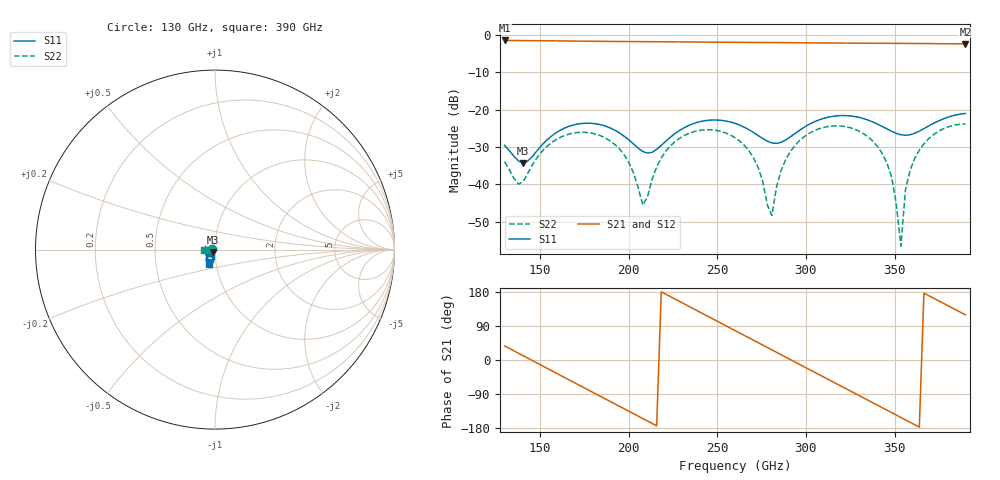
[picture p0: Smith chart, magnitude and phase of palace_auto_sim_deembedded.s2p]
! Created with skrf 1.11.0 (http://scikit-rf.org).
# GHz S DB R 50.0
!freq dBS11 angS11 dBS21 angS21 dBS12 angS12 dBS22 angS22
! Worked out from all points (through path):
!   101 points, 130 GHz to 390 GHz, reference 50 ohm
!   highest |S21| = -1.52 dB at 130 GHz (marker M1); lowest = -2.4 dB at 390 GHz (marker M2)
!   group delay of S21, straight-line fit = 6.81 ps
!   lowest |S11| = -34.3 dB at 140.4 GHz (marker M3), VSWR 1.04, Z = 48.8 - j1.44 ohm
!   |S11| at or under -10 dB: start of sweep to end of sweep
!   |S22| runs from -56.6 to -23.9 dB; largest |S21 - S12| = 1.4e-13
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130  -29.60 -161.4  -1.52 37.1  -1.52 37.1  -33.99 164.7
140.4  -34.31 -130.0  -1.55 11.5  -1.55 11.5  -39.30 -138.2
156  -27.26 -97.7  -1.62 -26.9  -1.62 -26.9  -29.02 -125.8
174.2  -23.69 -122.8  -1.70 -71.7  -1.70 -71.7  -26.09 -164.2
195  -26.31 -150.7  -1.79 -122.7  -1.79 -122.7  -30.65 150.3
202.8  -29.25 -149.4  -1.82 -141.8  -1.82 -141.8  -37.03 142.2
208  -31.23 -136.9  -1.83 -154.6  -1.83 -154.6  -45.59 -177.7
218.4  -29.59 -101.0  -1.87 179.9  -1.87 179.9  -32.95 -110.7
241.8  -23.09 -112.8  -1.95 122.4  -1.95 122.4  -25.46 -160.4
260  -23.70 -136.1  -2.01 77.8  -2.01 77.8  -27.52 156.8
273  -26.93 -140.2  -2.05 45.9  -2.05 45.9  -35.41 131.3
280.8  -28.94 -125.8  -2.07 26.8  -2.07 26.8  -48.34 -134.9
283.4  -29.06 -118.0  -2.08 20.4  -2.08 20.4  -40.79 -105.6
288.6  -28.14 -104.1  -2.10 7.6  -2.10 7.6  -33.39 -106.6
304.2  -23.41 -99.2  -2.16 -30.7  -2.16 -30.7  -25.77 -140.4
332.8  -22.46 -131.1  -2.25 -100.6  -2.25 -100.6  -26.54 148.9
348.4  -25.83 -131.8  -2.29 -138.9  -2.29 -138.9  -38.13 109.5
353.6  -26.76 -123.1  -2.30 -151.6  -2.30 -151.6  -56.56 -81.4
356.2  -26.89 -117.3  -2.31 -158.0  -2.31 -158.0  -41.43 -89.6
361.4  -26.34 -106.4  -2.32 -170.8  -2.32 -170.8  -33.09 -103.0
374.4  -23.14 -98.7  -2.37 157.3  -2.37 157.3  -25.94 -136.0
390  -21.05 -111.4  -2.43 119.2  -2.43 119.2  -23.89 -175.7
